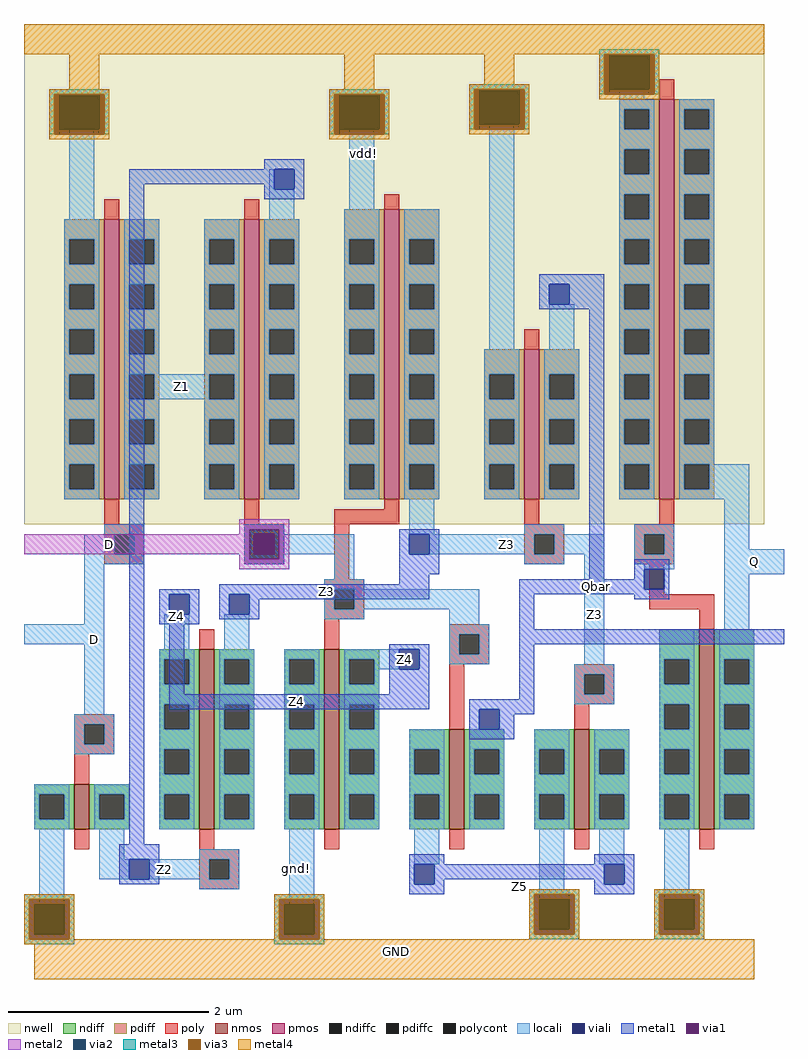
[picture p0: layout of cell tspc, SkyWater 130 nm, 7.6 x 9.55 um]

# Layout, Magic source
magic
tech sky130A
<< nwell >>
rect -70 -35 670 465
<< nmos >>
rect -20 -340 -5 -295
rect 105 -340 120 -160
rect 230 -340 245 -160
rect 355 -340 370 -240
rect 480 -340 495 -240
rect 605 -340 620 -140
<< pmos >>
rect 10 -10 25 270
rect 150 -10 165 270
rect 290 -10 305 280
rect 430 -10 445 140
rect 565 -10 580 390
<< ndiff >>
rect 65 -170 105 -160
rect 65 -195 70 -170
rect 95 -195 105 -170
rect 65 -215 105 -195
rect 65 -240 70 -215
rect 95 -240 105 -215
rect 65 -260 105 -240
rect 65 -285 70 -260
rect 95 -285 105 -260
rect -60 -305 -20 -295
rect -60 -330 -55 -305
rect -30 -330 -20 -305
rect -60 -340 -20 -330
rect -5 -305 35 -295
rect -5 -330 5 -305
rect 30 -330 35 -305
rect -5 -340 35 -330
rect 65 -305 105 -285
rect 65 -330 70 -305
rect 95 -330 105 -305
rect 65 -340 105 -330
rect 120 -170 160 -160
rect 120 -195 130 -170
rect 155 -195 160 -170
rect 120 -215 160 -195
rect 120 -240 130 -215
rect 155 -240 160 -215
rect 120 -260 160 -240
rect 120 -285 130 -260
rect 155 -285 160 -260
rect 120 -305 160 -285
rect 120 -330 130 -305
rect 155 -330 160 -305
rect 120 -340 160 -330
rect 190 -170 230 -160
rect 190 -195 195 -170
rect 220 -195 230 -170
rect 190 -215 230 -195
rect 190 -240 195 -215
rect 220 -240 230 -215
rect 190 -260 230 -240
rect 190 -285 195 -260
rect 220 -285 230 -260
rect 190 -305 230 -285
rect 190 -330 195 -305
rect 220 -330 230 -305
rect 190 -340 230 -330
rect 245 -170 285 -160
rect 245 -195 255 -170
rect 280 -195 285 -170
rect 245 -215 285 -195
rect 245 -240 255 -215
rect 280 -240 285 -215
rect 565 -170 605 -140
rect 565 -195 570 -170
rect 595 -195 605 -170
rect 565 -215 605 -195
rect 565 -240 570 -215
rect 595 -240 605 -215
rect 245 -260 285 -240
rect 245 -285 255 -260
rect 280 -285 285 -260
rect 245 -305 285 -285
rect 245 -330 255 -305
rect 280 -330 285 -305
rect 245 -340 285 -330
rect 315 -260 355 -240
rect 315 -285 320 -260
rect 345 -285 355 -260
rect 315 -305 355 -285
rect 315 -330 320 -305
rect 345 -330 355 -305
rect 315 -340 355 -330
rect 370 -260 410 -240
rect 370 -285 380 -260
rect 405 -285 410 -260
rect 370 -305 410 -285
rect 370 -330 380 -305
rect 405 -330 410 -305
rect 370 -340 410 -330
rect 440 -260 480 -240
rect 440 -285 445 -260
rect 470 -285 480 -260
rect 440 -305 480 -285
rect 440 -330 445 -305
rect 470 -330 480 -305
rect 440 -340 480 -330
rect 495 -260 535 -240
rect 495 -285 505 -260
rect 530 -285 535 -260
rect 495 -305 535 -285
rect 495 -330 505 -305
rect 530 -330 535 -305
rect 495 -340 535 -330
rect 565 -260 605 -240
rect 565 -285 570 -260
rect 595 -285 605 -260
rect 565 -305 605 -285
rect 565 -330 570 -305
rect 595 -330 605 -305
rect 565 -340 605 -330
rect 620 -170 660 -140
rect 620 -195 630 -170
rect 655 -195 660 -170
rect 620 -215 660 -195
rect 620 -240 630 -215
rect 655 -240 660 -215
rect 620 -260 660 -240
rect 620 -285 630 -260
rect 655 -285 660 -260
rect 620 -305 660 -285
rect 620 -330 630 -305
rect 655 -330 660 -305
rect 620 -340 660 -330
<< pdiff >>
rect 525 380 565 390
rect 525 360 530 380
rect 555 360 565 380
rect 525 340 565 360
rect 525 315 530 340
rect 555 315 565 340
rect 525 295 565 315
rect -30 250 10 270
rect -30 225 -25 250
rect 0 225 10 250
rect -30 205 10 225
rect -30 180 -25 205
rect 0 180 10 205
rect -30 160 10 180
rect -30 135 -25 160
rect 0 135 10 160
rect -30 115 10 135
rect -30 90 -25 115
rect 0 90 10 115
rect -30 70 10 90
rect -30 45 -25 70
rect 0 45 10 70
rect -30 25 10 45
rect -30 0 -25 25
rect 0 0 10 25
rect -30 -10 10 0
rect 25 250 65 270
rect 25 225 35 250
rect 60 225 65 250
rect 25 205 65 225
rect 25 180 35 205
rect 60 180 65 205
rect 25 160 65 180
rect 25 135 35 160
rect 60 135 65 160
rect 25 115 65 135
rect 25 90 35 115
rect 60 90 65 115
rect 25 70 65 90
rect 25 45 35 70
rect 60 45 65 70
rect 25 25 65 45
rect 25 0 35 25
rect 60 0 65 25
rect 25 -10 65 0
rect 110 250 150 270
rect 110 225 115 250
rect 140 225 150 250
rect 110 205 150 225
rect 110 180 115 205
rect 140 180 150 205
rect 110 160 150 180
rect 110 135 115 160
rect 140 135 150 160
rect 110 115 150 135
rect 110 90 115 115
rect 140 90 150 115
rect 110 70 150 90
rect 110 45 115 70
rect 140 45 150 70
rect 110 25 150 45
rect 110 0 115 25
rect 140 0 150 25
rect 110 -10 150 0
rect 165 250 205 270
rect 165 225 175 250
rect 200 225 205 250
rect 165 205 205 225
rect 165 180 175 205
rect 200 180 205 205
rect 165 160 205 180
rect 165 135 175 160
rect 200 135 205 160
rect 165 115 205 135
rect 165 90 175 115
rect 200 90 205 115
rect 165 70 205 90
rect 165 45 175 70
rect 200 45 205 70
rect 165 25 205 45
rect 165 0 175 25
rect 200 0 205 25
rect 165 -10 205 0
rect 250 250 290 280
rect 250 225 255 250
rect 280 225 290 250
rect 250 205 290 225
rect 250 180 255 205
rect 280 180 290 205
rect 250 160 290 180
rect 250 135 255 160
rect 280 135 290 160
rect 250 115 290 135
rect 250 90 255 115
rect 280 90 290 115
rect 250 70 290 90
rect 250 45 255 70
rect 280 45 290 70
rect 250 25 290 45
rect 250 0 255 25
rect 280 0 290 25
rect 250 -10 290 0
rect 305 250 345 280
rect 305 225 315 250
rect 340 225 345 250
rect 305 205 345 225
rect 305 180 315 205
rect 340 180 345 205
rect 305 160 345 180
rect 525 270 530 295
rect 555 270 565 295
rect 525 250 565 270
rect 525 225 530 250
rect 555 225 565 250
rect 525 205 565 225
rect 525 180 530 205
rect 555 180 565 205
rect 525 160 565 180
rect 305 135 315 160
rect 340 135 345 160
rect 305 115 345 135
rect 305 90 315 115
rect 340 90 345 115
rect 305 70 345 90
rect 305 45 315 70
rect 340 45 345 70
rect 305 25 345 45
rect 305 0 315 25
rect 340 0 345 25
rect 305 -10 345 0
rect 390 115 430 140
rect 390 90 395 115
rect 420 90 430 115
rect 390 70 430 90
rect 390 45 395 70
rect 420 45 430 70
rect 390 25 430 45
rect 390 0 395 25
rect 420 0 430 25
rect 390 -10 430 0
rect 445 115 485 140
rect 445 90 455 115
rect 480 90 485 115
rect 445 70 485 90
rect 445 45 455 70
rect 480 45 485 70
rect 445 25 485 45
rect 445 0 455 25
rect 480 0 485 25
rect 445 -10 485 0
rect 525 135 530 160
rect 555 135 565 160
rect 525 115 565 135
rect 525 90 530 115
rect 555 90 565 115
rect 525 70 565 90
rect 525 45 530 70
rect 555 45 565 70
rect 525 25 565 45
rect 525 0 530 25
rect 555 0 565 25
rect 525 -10 565 0
rect 580 380 620 390
rect 580 360 590 380
rect 615 360 620 380
rect 580 340 620 360
rect 580 315 590 340
rect 615 315 620 340
rect 580 295 620 315
rect 580 270 590 295
rect 615 270 620 295
rect 580 250 620 270
rect 580 225 590 250
rect 615 225 620 250
rect 580 205 620 225
rect 580 180 590 205
rect 615 180 620 205
rect 580 160 620 180
rect 580 135 590 160
rect 615 135 620 160
rect 580 115 620 135
rect 580 90 590 115
rect 615 90 620 115
rect 580 70 620 90
rect 580 45 590 70
rect 615 45 620 70
rect 580 25 620 45
rect 580 0 590 25
rect 615 0 620 25
rect 580 -10 620 0
<< ndiffc >>
rect 70 -195 95 -170
rect 70 -240 95 -215
rect 70 -285 95 -260
rect -55 -330 -30 -305
rect 5 -330 30 -305
rect 70 -330 95 -305
rect 130 -195 155 -170
rect 130 -240 155 -215
rect 130 -285 155 -260
rect 130 -330 155 -305
rect 195 -195 220 -170
rect 195 -240 220 -215
rect 195 -285 220 -260
rect 195 -330 220 -305
rect 255 -195 280 -170
rect 255 -240 280 -215
rect 570 -195 595 -170
rect 570 -240 595 -215
rect 255 -285 280 -260
rect 255 -330 280 -305
rect 320 -285 345 -260
rect 320 -330 345 -305
rect 380 -285 405 -260
rect 380 -330 405 -305
rect 445 -285 470 -260
rect 445 -330 470 -305
rect 505 -285 530 -260
rect 505 -330 530 -305
rect 570 -285 595 -260
rect 570 -330 595 -305
rect 630 -195 655 -170
rect 630 -240 655 -215
rect 630 -285 655 -260
rect 630 -330 655 -305
<< pdiffc >>
rect 530 360 555 380
rect 530 315 555 340
rect -25 225 0 250
rect -25 180 0 205
rect -25 135 0 160
rect -25 90 0 115
rect -25 45 0 70
rect -25 0 0 25
rect 35 225 60 250
rect 35 180 60 205
rect 35 135 60 160
rect 35 90 60 115
rect 35 45 60 70
rect 35 0 60 25
rect 115 225 140 250
rect 115 180 140 205
rect 115 135 140 160
rect 115 90 140 115
rect 115 45 140 70
rect 115 0 140 25
rect 175 225 200 250
rect 175 180 200 205
rect 175 135 200 160
rect 175 90 200 115
rect 175 45 200 70
rect 175 0 200 25
rect 255 225 280 250
rect 255 180 280 205
rect 255 135 280 160
rect 255 90 280 115
rect 255 45 280 70
rect 255 0 280 25
rect 315 225 340 250
rect 315 180 340 205
rect 530 270 555 295
rect 530 225 555 250
rect 530 180 555 205
rect 315 135 340 160
rect 315 90 340 115
rect 315 45 340 70
rect 315 0 340 25
rect 395 90 420 115
rect 395 45 420 70
rect 395 0 420 25
rect 455 90 480 115
rect 455 45 480 70
rect 455 0 480 25
rect 530 135 555 160
rect 530 90 555 115
rect 530 45 555 70
rect 530 0 555 25
rect 590 360 615 380
rect 590 315 615 340
rect 590 270 615 295
rect 590 225 615 250
rect 590 180 615 205
rect 590 135 615 160
rect 590 90 615 115
rect 590 45 615 70
rect 590 0 615 25
<< poly >>
rect 565 390 580 410
rect 10 270 25 290
rect 150 270 165 290
rect 290 280 305 295
rect 430 140 445 160
rect 10 -35 25 -10
rect 150 -35 165 -10
rect 290 -20 305 -10
rect 240 -35 305 -20
rect 430 -35 445 -10
rect 565 -35 580 -10
rect 10 -45 50 -35
rect 10 -65 20 -45
rect 40 -65 50 -45
rect 10 -75 50 -65
rect 150 -45 190 -35
rect 150 -65 160 -45
rect 180 -65 190 -45
rect 150 -75 190 -65
rect 240 -90 255 -35
rect 430 -45 470 -35
rect 430 -65 440 -45
rect 460 -65 470 -45
rect 430 -75 470 -65
rect 540 -45 580 -35
rect 540 -65 550 -45
rect 570 -65 580 -45
rect 540 -75 580 -65
rect 230 -100 270 -90
rect 230 -120 240 -100
rect 260 -120 270 -100
rect 555 -105 570 -75
rect 555 -120 620 -105
rect 230 -130 270 -120
rect 105 -160 120 -140
rect 230 -160 245 -130
rect 355 -145 395 -135
rect 605 -140 620 -120
rect -20 -235 20 -225
rect -20 -255 -10 -235
rect 10 -255 20 -235
rect -20 -265 20 -255
rect -20 -295 -5 -265
rect 355 -165 365 -145
rect 385 -165 395 -145
rect 355 -175 395 -165
rect 355 -240 370 -175
rect 480 -185 520 -175
rect 480 -205 490 -185
rect 510 -205 520 -185
rect 480 -215 520 -205
rect 480 -240 495 -215
rect -20 -360 -5 -340
rect 105 -360 120 -340
rect 230 -360 245 -340
rect 355 -360 370 -340
rect 480 -360 495 -340
rect 605 -360 620 -340
rect 105 -370 145 -360
rect 105 -390 115 -370
rect 135 -390 145 -370
rect 105 -400 145 -390
<< polycont >>
rect 20 -65 40 -45
rect 160 -65 180 -45
rect 440 -65 460 -45
rect 550 -65 570 -45
rect 240 -120 260 -100
rect -10 -255 10 -235
rect 365 -165 385 -145
rect 490 -205 510 -185
rect 115 -390 135 -370
<< locali >>
rect 525 390 550 400
rect 525 380 560 390
rect -25 270 0 360
rect 175 300 180 320
rect 175 270 200 300
rect 255 280 280 360
rect -30 250 5 270
rect -30 225 -25 250
rect 0 225 5 250
rect -30 205 5 225
rect -30 180 -25 205
rect 0 180 5 205
rect -30 160 5 180
rect -30 135 -25 160
rect 0 135 5 160
rect -30 115 5 135
rect -30 90 -25 115
rect 0 90 5 115
rect -30 70 5 90
rect -30 45 -25 70
rect 0 45 5 70
rect -30 25 5 45
rect -30 0 -25 25
rect 0 0 5 25
rect -30 -10 5 0
rect 30 250 65 270
rect 30 225 35 250
rect 60 225 65 250
rect 30 205 65 225
rect 30 180 35 205
rect 60 180 65 205
rect 30 160 65 180
rect 30 135 35 160
rect 60 135 65 160
rect 30 115 65 135
rect 110 250 145 270
rect 110 225 115 250
rect 140 225 145 250
rect 110 205 145 225
rect 110 180 115 205
rect 140 180 145 205
rect 110 160 145 180
rect 110 135 115 160
rect 140 135 145 160
rect 110 115 145 135
rect 30 90 35 115
rect 60 90 115 115
rect 140 90 145 115
rect 30 70 65 90
rect 30 45 35 70
rect 60 45 65 70
rect 30 25 65 45
rect 30 0 35 25
rect 60 0 65 25
rect 30 -10 65 0
rect 110 70 145 90
rect 110 45 115 70
rect 140 45 145 70
rect 110 25 145 45
rect 110 0 115 25
rect 140 0 145 25
rect 110 -10 145 0
rect 170 250 205 270
rect 170 225 175 250
rect 200 225 205 250
rect 170 205 205 225
rect 170 180 175 205
rect 200 180 205 205
rect 170 160 205 180
rect 170 135 175 160
rect 200 135 205 160
rect 170 115 205 135
rect 170 90 175 115
rect 200 90 205 115
rect 170 70 205 90
rect 170 45 175 70
rect 200 45 205 70
rect 170 25 205 45
rect 170 0 175 25
rect 200 0 205 25
rect 170 -10 205 0
rect 250 250 285 280
rect 250 225 255 250
rect 280 225 285 250
rect 250 205 285 225
rect 250 180 255 205
rect 280 180 285 205
rect 250 160 285 180
rect 250 135 255 160
rect 280 135 285 160
rect 250 115 285 135
rect 250 90 255 115
rect 280 90 285 115
rect 250 70 285 90
rect 250 45 255 70
rect 280 45 285 70
rect 250 25 285 45
rect 250 0 255 25
rect 280 0 285 25
rect 250 -10 285 0
rect 310 250 345 280
rect 310 225 315 250
rect 340 225 345 250
rect 310 205 345 225
rect 310 180 315 205
rect 340 180 345 205
rect 310 160 345 180
rect 310 135 315 160
rect 340 135 345 160
rect 395 140 420 365
rect 525 360 530 380
rect 555 360 560 380
rect 525 340 560 360
rect 525 315 530 340
rect 555 315 560 340
rect 525 295 560 315
rect 525 270 530 295
rect 555 270 560 295
rect 525 250 560 270
rect 525 225 530 250
rect 555 225 560 250
rect 525 205 560 225
rect 455 140 480 185
rect 525 180 530 205
rect 555 180 560 205
rect 525 160 560 180
rect 310 115 345 135
rect 310 90 315 115
rect 340 90 345 115
rect 310 70 345 90
rect 310 45 315 70
rect 340 45 345 70
rect 310 25 345 45
rect 310 0 315 25
rect 340 0 345 25
rect 310 -10 345 0
rect 390 115 425 140
rect 390 90 395 115
rect 420 90 425 115
rect 390 70 425 90
rect 390 45 395 70
rect 420 45 425 70
rect 390 25 425 45
rect 390 0 395 25
rect 420 0 425 25
rect 390 -10 425 0
rect 450 115 485 140
rect 450 90 455 115
rect 480 90 485 115
rect 450 70 485 90
rect 450 45 455 70
rect 480 45 485 70
rect 450 25 485 45
rect 450 0 455 25
rect 480 0 485 25
rect 450 -10 485 0
rect 525 135 530 160
rect 555 135 560 160
rect 525 115 560 135
rect 525 90 530 115
rect 555 90 560 115
rect 525 70 560 90
rect 525 45 530 70
rect 555 45 560 70
rect 525 25 560 45
rect 525 0 530 25
rect 555 0 560 25
rect 525 -10 560 0
rect 585 380 620 390
rect 585 360 590 380
rect 615 360 620 380
rect 585 340 620 360
rect 585 315 590 340
rect 615 315 620 340
rect 585 295 620 315
rect 585 270 590 295
rect 615 270 620 295
rect 585 250 620 270
rect 585 225 590 250
rect 615 225 620 250
rect 585 205 620 225
rect 585 180 590 205
rect 615 180 620 205
rect 585 160 620 180
rect 585 135 590 160
rect 615 135 620 160
rect 585 115 620 135
rect 585 90 590 115
rect 615 90 620 115
rect 585 70 620 90
rect 585 45 590 70
rect 615 45 620 70
rect 585 25 620 45
rect 585 0 590 25
rect 615 0 655 25
rect 585 -10 655 0
rect 10 -45 50 -35
rect -10 -65 20 -45
rect 40 -65 50 -45
rect -10 -75 50 -65
rect 150 -45 190 -35
rect 315 -45 340 -10
rect 430 -45 470 -35
rect 540 -45 580 -35
rect 150 -65 160 -45
rect 180 -65 260 -45
rect 335 -65 440 -45
rect 460 -65 510 -45
rect 150 -75 190 -65
rect -10 -135 10 -75
rect 240 -90 260 -65
rect 430 -75 470 -65
rect 230 -100 270 -90
rect -70 -155 10 -135
rect -10 -225 10 -155
rect 70 -160 95 -125
rect 130 -160 155 -125
rect 230 -120 240 -100
rect 260 -120 385 -100
rect 230 -130 270 -120
rect 355 -135 385 -120
rect 355 -145 395 -135
rect 65 -170 100 -160
rect 65 -195 70 -170
rect 95 -195 100 -170
rect 65 -215 100 -195
rect -20 -235 20 -225
rect -20 -255 -10 -235
rect 10 -255 20 -235
rect -20 -265 20 -255
rect 65 -240 70 -215
rect 95 -240 100 -215
rect 65 -260 100 -240
rect 65 -285 70 -260
rect 95 -285 100 -260
rect -60 -305 -25 -295
rect -60 -330 -55 -305
rect -30 -330 -25 -305
rect -60 -340 -25 -330
rect 0 -305 35 -295
rect 0 -330 5 -305
rect 30 -330 35 -305
rect 0 -340 35 -330
rect 65 -305 100 -285
rect 65 -330 70 -305
rect 95 -330 100 -305
rect 65 -340 100 -330
rect 125 -170 160 -160
rect 125 -195 130 -170
rect 155 -195 160 -170
rect 125 -215 160 -195
rect 125 -240 130 -215
rect 155 -240 160 -215
rect 125 -260 160 -240
rect 125 -285 130 -260
rect 155 -285 160 -260
rect 125 -305 160 -285
rect 125 -330 130 -305
rect 155 -330 160 -305
rect 125 -340 160 -330
rect 190 -170 225 -160
rect 190 -195 195 -170
rect 220 -195 225 -170
rect 190 -215 225 -195
rect 190 -240 195 -215
rect 220 -240 225 -215
rect 190 -260 225 -240
rect 190 -285 195 -260
rect 220 -285 225 -260
rect 190 -305 225 -285
rect 190 -330 195 -305
rect 220 -330 225 -305
rect 190 -340 225 -330
rect 250 -170 305 -160
rect 250 -195 255 -170
rect 280 -180 305 -170
rect 355 -165 365 -145
rect 385 -165 395 -145
rect 355 -175 395 -165
rect 490 -175 510 -65
rect 540 -65 550 -45
rect 570 -65 580 -45
rect 540 -75 580 -65
rect 550 -80 580 -75
rect 630 -60 655 -10
rect 630 -85 690 -60
rect 630 -140 655 -85
rect 565 -170 600 -140
rect 280 -195 285 -180
rect 250 -215 285 -195
rect 480 -185 520 -175
rect 480 -205 490 -185
rect 510 -205 520 -185
rect 480 -215 520 -205
rect 565 -195 570 -170
rect 595 -195 600 -170
rect 565 -215 600 -195
rect 250 -240 255 -215
rect 280 -240 285 -215
rect 565 -240 570 -215
rect 595 -240 600 -215
rect 250 -260 285 -240
rect 250 -285 255 -260
rect 280 -285 285 -260
rect 250 -305 285 -285
rect 250 -330 255 -305
rect 280 -330 285 -305
rect 250 -340 285 -330
rect 315 -260 350 -240
rect 315 -285 320 -260
rect 345 -285 350 -260
rect 315 -305 350 -285
rect 315 -330 320 -305
rect 345 -330 350 -305
rect 315 -340 350 -330
rect 375 -260 410 -240
rect 375 -285 380 -260
rect 405 -285 410 -260
rect 375 -305 410 -285
rect 375 -330 380 -305
rect 405 -330 410 -305
rect 375 -340 410 -330
rect 440 -260 475 -240
rect 440 -285 445 -260
rect 470 -285 475 -260
rect 440 -305 475 -285
rect 440 -330 445 -305
rect 470 -330 475 -305
rect 440 -340 475 -330
rect 500 -260 535 -240
rect 500 -285 505 -260
rect 530 -285 535 -260
rect 500 -305 535 -285
rect 500 -330 505 -305
rect 530 -330 535 -305
rect 500 -340 535 -330
rect 565 -260 600 -240
rect 565 -285 570 -260
rect 595 -285 600 -260
rect 565 -305 600 -285
rect 565 -330 570 -305
rect 595 -330 600 -305
rect 565 -340 600 -330
rect 625 -170 660 -140
rect 625 -195 630 -170
rect 655 -195 660 -170
rect 625 -215 660 -195
rect 625 -240 630 -215
rect 655 -240 660 -215
rect 625 -260 660 -240
rect 625 -285 630 -260
rect 655 -285 660 -260
rect 625 -305 660 -285
rect 625 -330 630 -305
rect 655 -330 660 -305
rect 625 -340 660 -330
rect -55 -420 -30 -340
rect 5 -370 30 -340
rect 105 -370 145 -360
rect 5 -390 35 -370
rect 55 -390 115 -370
rect 135 -390 145 -370
rect 105 -400 145 -390
rect -35 -440 -30 -420
rect 195 -420 220 -340
rect 320 -375 345 -340
rect 215 -440 220 -420
rect 445 -400 470 -340
rect 505 -375 530 -340
rect 570 -400 595 -340
rect 445 -415 475 -400
rect 445 -435 450 -415
rect 470 -435 475 -415
rect 570 -415 600 -400
rect 570 -435 575 -415
rect 595 -435 600 -415
rect 445 -440 470 -435
rect 570 -440 595 -435
<< viali >>
rect 525 400 545 420
rect -25 360 -5 380
rect 255 360 275 380
rect 395 365 415 385
rect 180 300 200 320
rect 455 185 475 205
rect 160 -65 180 -45
rect 315 -65 335 -45
rect 75 -125 95 -105
rect 135 -125 155 -105
rect 305 -180 325 -160
rect 550 -100 570 -80
rect 385 -240 405 -220
rect 35 -390 55 -370
rect -55 -440 -35 -420
rect 320 -395 340 -375
rect 195 -440 215 -420
rect 510 -395 530 -375
rect 450 -435 470 -415
rect 575 -435 595 -415
<< metal1 >>
rect 515 400 520 430
rect 550 400 555 430
rect 515 395 555 400
rect -35 360 -30 390
rect 0 360 5 390
rect -35 355 5 360
rect 245 360 250 390
rect 280 360 285 390
rect 385 365 390 395
rect 420 365 425 395
rect 385 360 425 365
rect 245 355 285 360
rect 170 320 210 330
rect 35 305 180 320
rect 35 -355 50 305
rect 170 300 180 305
rect 200 300 210 320
rect 170 290 210 300
rect 445 205 510 215
rect 445 185 455 205
rect 475 185 510 205
rect 445 180 510 185
rect 150 -40 190 -35
rect 150 -70 155 -40
rect 185 -70 190 -40
rect 150 -75 190 -70
rect 305 -45 345 -40
rect 305 -65 315 -45
rect 335 -65 345 -45
rect 305 -85 345 -65
rect 305 -95 335 -85
rect 495 -90 510 180
rect 540 -80 575 -70
rect 540 -90 550 -80
rect 65 -105 105 -100
rect 65 -125 75 -105
rect 95 -125 105 -105
rect 65 -135 105 -125
rect 125 -105 335 -95
rect 125 -125 135 -105
rect 155 -110 335 -105
rect 425 -100 550 -90
rect 570 -100 575 -80
rect 425 -105 575 -100
rect 155 -125 165 -110
rect 125 -130 165 -125
rect 75 -205 90 -135
rect 425 -140 440 -105
rect 540 -110 575 -105
rect 425 -155 690 -140
rect 295 -160 335 -155
rect 295 -180 305 -160
rect 325 -180 335 -160
rect 295 -205 335 -180
rect 75 -220 335 -205
rect 425 -210 440 -155
rect 375 -220 440 -210
rect 375 -240 385 -220
rect 405 -225 440 -220
rect 405 -240 420 -225
rect 375 -250 420 -240
rect 25 -370 65 -355
rect 25 -390 35 -370
rect 55 -390 65 -370
rect 25 -395 65 -390
rect 315 -375 350 -365
rect 500 -375 540 -365
rect 315 -395 320 -375
rect 340 -390 510 -375
rect 340 -395 350 -390
rect 315 -405 350 -395
rect 500 -395 510 -390
rect 530 -395 540 -375
rect 500 -405 540 -395
rect 440 -410 480 -405
rect -65 -415 -25 -410
rect -65 -445 -60 -415
rect -30 -445 -25 -415
rect -65 -450 -25 -445
rect 185 -415 225 -410
rect 185 -445 190 -415
rect 220 -445 225 -415
rect 440 -440 445 -410
rect 475 -440 480 -410
rect 440 -445 480 -440
rect 565 -410 605 -405
rect 565 -440 570 -410
rect 600 -440 605 -410
rect 565 -445 605 -440
rect 185 -450 225 -445
<< via1 >>
rect 520 420 550 430
rect 520 400 525 420
rect 525 400 545 420
rect 545 400 550 420
rect -30 380 0 390
rect -30 360 -25 380
rect -25 360 -5 380
rect -5 360 0 380
rect 250 380 280 390
rect 250 360 255 380
rect 255 360 275 380
rect 275 360 280 380
rect 390 385 420 395
rect 390 365 395 385
rect 395 365 415 385
rect 415 365 420 385
rect 155 -45 185 -40
rect 155 -65 160 -45
rect 160 -65 180 -45
rect 180 -65 185 -45
rect 155 -70 185 -65
rect -60 -420 -30 -415
rect -60 -440 -55 -420
rect -55 -440 -35 -420
rect -35 -440 -30 -420
rect -60 -445 -30 -440
rect 190 -420 220 -415
rect 190 -440 195 -420
rect 195 -440 215 -420
rect 215 -440 220 -420
rect 190 -445 220 -440
rect 445 -415 475 -410
rect 445 -435 450 -415
rect 450 -435 470 -415
rect 470 -435 475 -415
rect 445 -440 475 -435
rect 570 -415 600 -410
rect 570 -435 575 -415
rect 575 -435 595 -415
rect 595 -435 600 -415
rect 570 -440 600 -435
<< metal2 >>
rect 510 400 515 435
rect 555 400 560 435
rect -40 360 -35 395
rect 5 360 10 395
rect -40 355 10 360
rect 240 360 245 395
rect 285 360 290 395
rect 380 365 385 400
rect 425 365 430 400
rect 510 395 560 400
rect 380 360 430 365
rect 240 355 290 360
rect 145 -40 195 -30
rect 145 -45 155 -40
rect -70 -65 155 -45
rect 145 -70 155 -65
rect 185 -70 195 -40
rect 145 -80 195 -70
rect 440 -410 480 -405
rect -65 -415 -25 -410
rect -65 -445 -60 -415
rect -30 -445 -25 -415
rect -65 -450 -25 -445
rect 185 -415 225 -410
rect 185 -445 190 -415
rect 220 -445 225 -415
rect 440 -440 445 -410
rect 475 -440 480 -410
rect 440 -445 480 -440
rect 565 -410 605 -405
rect 565 -440 570 -410
rect 600 -440 605 -410
rect 565 -445 605 -440
rect 185 -450 225 -445
<< via2 >>
rect 515 430 555 435
rect 515 400 520 430
rect 520 400 550 430
rect 550 400 555 430
rect -35 390 5 395
rect -35 360 -30 390
rect -30 360 0 390
rect 0 360 5 390
rect 245 390 285 395
rect 245 360 250 390
rect 250 360 280 390
rect 280 360 285 390
rect 385 395 425 400
rect 385 365 390 395
rect 390 365 420 395
rect 420 365 425 395
rect -60 -445 -30 -415
rect 190 -445 220 -415
rect 445 -440 475 -410
rect 570 -440 600 -410
<< metal3 >>
rect 505 435 565 440
rect 375 400 435 405
rect -45 395 15 400
rect -45 355 -40 395
rect 10 355 15 395
rect 235 395 295 400
rect 235 355 240 395
rect 290 355 295 395
rect 375 360 380 400
rect 430 360 435 400
rect 505 395 510 435
rect 560 395 565 435
rect 435 -405 485 -400
rect -70 -410 -20 -405
rect -70 -450 -65 -410
rect -25 -450 -20 -410
rect -70 -455 -20 -450
rect 180 -410 230 -405
rect 180 -450 185 -410
rect 225 -450 230 -410
rect 435 -445 440 -405
rect 480 -445 485 -405
rect 435 -450 485 -445
rect 560 -405 610 -400
rect 560 -445 565 -405
rect 605 -445 610 -405
rect 560 -450 610 -445
rect 180 -455 230 -450
<< via3 >>
rect -40 360 -35 395
rect -35 360 5 395
rect 5 360 10 395
rect -40 355 10 360
rect 240 360 245 395
rect 245 360 285 395
rect 285 360 290 395
rect 240 355 290 360
rect 380 365 385 400
rect 385 365 425 400
rect 425 365 430 400
rect 380 360 430 365
rect 510 400 515 435
rect 515 400 555 435
rect 555 400 560 435
rect 510 395 560 400
rect -65 -415 -25 -410
rect -65 -445 -60 -415
rect -60 -445 -30 -415
rect -30 -445 -25 -415
rect -65 -450 -25 -445
rect 185 -415 225 -410
rect 185 -445 190 -415
rect 190 -445 220 -415
rect 220 -445 225 -415
rect 185 -450 225 -445
rect 440 -410 480 -405
rect 440 -440 445 -410
rect 445 -440 475 -410
rect 475 -440 480 -410
rect 440 -445 480 -440
rect 565 -410 605 -405
rect 565 -440 570 -410
rect 570 -440 600 -410
rect 600 -440 605 -410
rect 565 -445 605 -440
<< metal4 >>
rect -70 435 670 465
rect -25 400 5 435
rect 250 400 280 435
rect 390 405 420 435
rect 375 400 435 405
rect -45 395 15 400
rect -45 355 -40 395
rect 10 355 15 395
rect -45 350 15 355
rect 235 395 295 400
rect 235 355 240 395
rect 290 355 295 395
rect 375 360 380 400
rect 430 360 435 400
rect 505 395 510 435
rect 560 395 565 435
rect 505 390 565 395
rect 375 355 435 360
rect 235 350 295 355
rect 435 -405 485 -400
rect -70 -410 -20 -405
rect -70 -450 -65 -410
rect -25 -450 -20 -410
rect 180 -410 230 -405
rect 180 -450 185 -410
rect 225 -450 230 -410
rect 435 -445 440 -405
rect 480 -445 485 -405
rect 435 -450 485 -445
rect 560 -405 610 -400
rect 560 -445 565 -405
rect 605 -445 610 -405
rect 560 -450 610 -445
rect -70 -455 660 -450
rect -60 -490 660 -455
<< labels >>
rlabel locali -10 -255 10 -45 1 D
rlabel locali -10 -65 40 -45 1 D
rlabel locali 65 90 110 115 1 Z1
rlabel metal1 130 -110 335 -95 1 Z3
rlabel locali 490 -205 510 -45 1 Z3
rlabel metal1 75 -220 330 -205 1 Z4
rlabel space 320 -405 530 -390 1 Z5
rlabel locali 630 -85 690 -60 1 Q
rlabel space 425 -105 580 -90 1 Qbar
rlabel locali 315 -65 510 -45 1 Z3
rlabel locali 5 -390 135 -370 1 Z2
rlabel space 70 -160 95 -95 1 Z4
rlabel space 285 -180 335 -160 1 Z4
rlabel metal4 -55 -470 660 -455 1 GND
rlabel locali 269 336 269 336 1 vdd!
rlabel locali 202 -379 202 -379 1 gnd!
<< end >>
